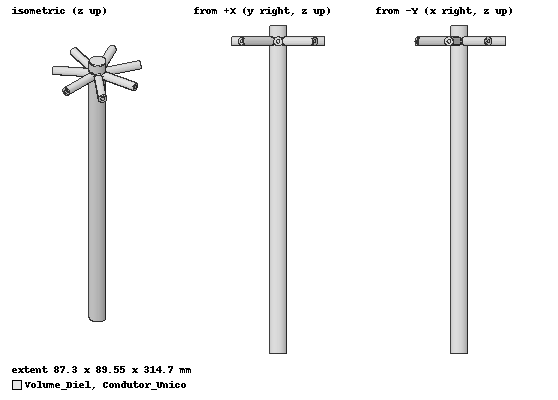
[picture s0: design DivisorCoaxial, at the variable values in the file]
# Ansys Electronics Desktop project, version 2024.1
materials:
  vacuum: permittivity=1
  Ar: permittivity=1.0006 permeability=1
  pec: conductivity=1e+30
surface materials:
  Steel-oxidised-surface

design DivisorCoaxial (HFSS, HFSS Modal Network, model units mm)
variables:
  comp_total = 314.68769mm
  comp_secoes = 299.70256mm
  dia_int_tubo = 17mm
  dia_saida_diel = dia_int_tubo / 2
  dia_saida_cond = (dia_int_tubo / 2) / 2.3
  comp_saida = 44.955384mm
  dia_sc1 = 8.8382641mm
  dia_sc2 = 11.371001mm
  dia_sc3 = 13.276269mm
  dia_sc4 = 14.602841mm
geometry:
  Volume_Diel [Ar] = cylinder(axis=Z, base_centre=(0mm, 0mm, 0mm), radius=dia_int_tubo/2, height=comp_total)
  Condutor_Unico [pec] = cylinder(axis=Z, base_centre=(0mm, 0mm, 0mm), radius=dia_sc1/2, height=74.92564mm)
  Cond_Sec2 = cylinder(axis=Z, base_centre=(0mm, 0mm, 74.92564mm), radius=dia_sc2/2, height=74.92564mm)
  Cond_Sec3 = cylinder(axis=Z, base_centre=(0mm, 0mm, 149.85128mm), radius=dia_sc3/2, height=74.92564mm)
  Cond_Sec4 = cylinder(axis=Z, base_centre=(0mm, 0mm, 224.77692mm), radius=dia_sc4/2, height=74.92564mm)
  Output_Outer_1 = cylinder(axis=X, base_centre=(0mm, 0mm, comp_secoes), radius=dia_saida_diel/2, height=comp_saida)
  Output_Inner_1 = cylinder(axis=X, base_centre=(0mm, 0mm, comp_secoes), radius=dia_saida_cond/2, height=comp_saida)
  Output_Outer_1_1..Output_Outer_1_6 = Output_Outer_1.duplicate_around_axis(axis=Z, angle=360deg/7, total=7)
  Output_Inner_1_1..Output_Inner_1_6 = Output_Inner_1.duplicate_around_axis(axis=Z, angle=360deg/7, total=7)
  Volume_Diel.unite(Output_Outer_1, Output_Outer_1_1..Output_Outer_1_6)
  Condutor_Unico.unite(Cond_Sec2, Cond_Sec3, Cond_Sec4, Output_Inner_1, Output_Inner_1_1..Output_Inner_1_6)
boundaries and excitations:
  P1: Wave Port Faces=Volume_Diel.face(-z end) WavePortType=Modal NumModes=1 Modes{Mode1{CharImp=Zpi RenormImp=50ohm}}
  P2: Wave Port Faces=Volume_Diel.face(at (44.9554, 0, 299.703)) WavePortType=Modal NumModes=1 Modes{Mode1{CharImp=Zpi RenormImp=50ohm}}
  P3: Wave Port Faces=Volume_Diel.face(at (28.0292, 35.1475, 299.703)) WavePortType=Modal NumModes=1 Modes{Mode1{CharImp=Zpi RenormImp=50ohm}}
  P4: Wave Port Faces=Volume_Diel.face(at (-10.0035, 43.8283, 299.703)) WavePortType=Modal NumModes=1 Modes{Mode1{CharImp=Zpi RenormImp=50ohm}}
  P5: Wave Port Faces=Volume_Diel.face(at (-40.5034, 19.5054, 299.703)) WavePortType=Modal NumModes=1 Modes{Mode1{CharImp=Zpi RenormImp=50ohm}}
  P6: Wave Port Faces=Volume_Diel.face(at (-40.5034, -19.5054, 299.703)) WavePortType=Modal NumModes=1 Modes{Mode1{CharImp=Zpi RenormImp=50ohm}}
  P7: Wave Port Faces=Volume_Diel.face(at (-10.0035, -43.8283, 299.703)) WavePortType=Modal NumModes=1 Modes{Mode1{CharImp=Zpi RenormImp=50ohm}}
  P8: Wave Port Faces=Volume_Diel.face(at (28.0292, -35.1475, 299.703)) WavePortType=Modal NumModes=1 Modes{Mode1{CharImp=Zpi RenormImp=50ohm}}
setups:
  Setup1: HfssDriven Frequency=1GHz MaxDeltaS=0.02 MaximumPasses=8 MinimumPasses=1 MinimumConvergedPasses=1 PercentRefinement=30 BasisOrder=1 PortAccuracy=2 DrivenSolverType="Direct Solver"
    sweep Sweep1: 800MHz to 1200MHz, 201 points; Type=Fast
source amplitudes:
  P1:1: 1W 0deg
  P2:1, P3:1, P4:1, P5:1, P6:1, P7:1, P8:1: 0W 0deg
